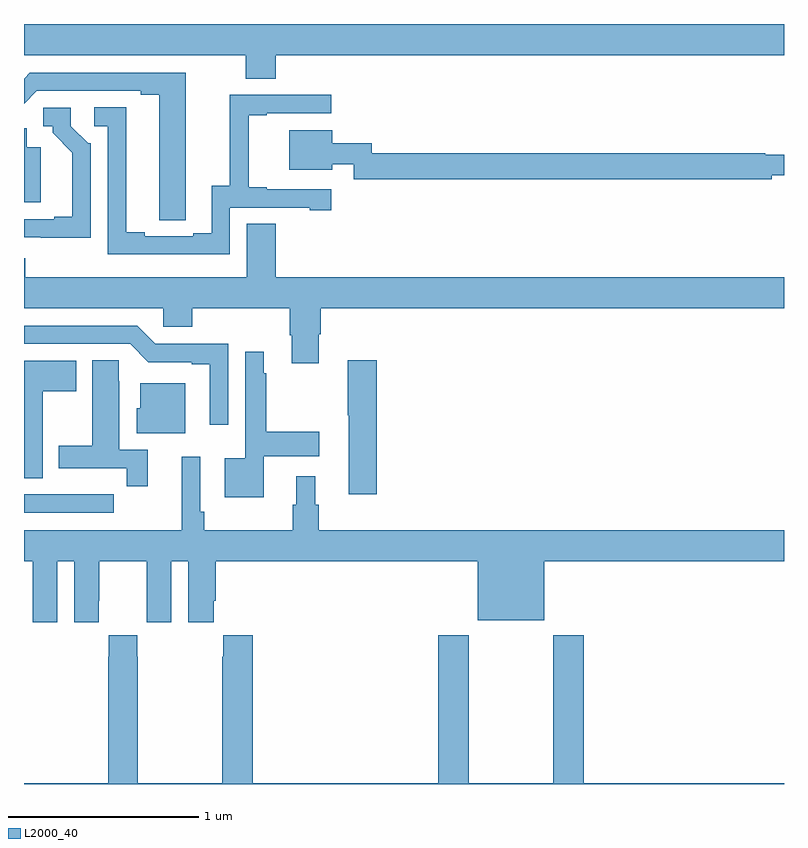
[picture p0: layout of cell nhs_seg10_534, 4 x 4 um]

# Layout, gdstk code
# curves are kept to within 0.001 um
import gdstk
lib = gdstk.Library(unit=1e-6, precision=1e-09)
def P(c, l, *ps):  # polygons
    for p in ps: c.add(gdstk.Polygon(p, *l))
L2000_40 = (2000, 40)

nhs_seg10_534 = lib.new_cell('nhs_seg10_534')
P(nhs_seg10_534, L2000_40, [(138.326,1280.336),(141,1280.336),(141,1280.5),(137,1280.5),(137,1280.336),(138.166,1280.336),(138.166,1280.212),(138.326,1280.212)],
  [(137.85,1279.576),(137.851,1279.576),(137.851,1280.244),(137.031,1280.244),(137,1280.213),(137,1280.081),(137.067,1280.148),(137.615,1280.148),(137.615,1280.128),(137.711,1280.128),(137.711,1279.468),(137.85,1279.468)],
  [(138.084,1279.533),(138.503,1279.533),(138.503,1279.521),(138.616,1279.521),(138.616,1279.629),(138.277,1279.629),(138.277,1279.642),(138.182,1279.642),(138.182,1280.019),(138.277,1280.019),(138.277,1280.031),(138.616,1280.031),(138.616,1280.127),(138.082,1280.127),(138.082,1279.649),(137.987,1279.649),(137.987,1279.398),(137.891,1279.398),(137.891,1279.383),(137.635,1279.383),(137.635,1279.403),(137.539,1279.403),(137.539,1280.063),(137.37,1280.063),(137.37,1279.962),(137.442,1279.962),(137.442,1279.287),(138.084,1279.287)],
  [(137.352,1279.872),(137.337,1279.872),(137.247,1279.962),(137.247,1280.058),(137.1,1280.058),(137.1,1279.962),(137.15,1279.962),(137.15,1279.927),(137.255,1279.822),(137.255,1279.486),(137.159,1279.486),(137.159,1279.473),(137,1279.473),(137,1279.377),(137.352,1279.376)],
  [(137.089,1279.852),(137.014,1279.852),(137.014,1279.951),(137,1279.951),(137,1279.562),(137.089,1279.562)],
  [(140.936,1279.703),(141,1279.703),(141,1279.813),(140.902,1279.813),(140.902,1279.82),(138.831,1279.82),(138.831,1279.873),(138.622,1279.873),(138.622,1279.942),(138.395,1279.942),(138.395,1279.733),(138.622,1279.733),(138.622,1279.763),(138.735,1279.763),(138.735,1279.684),(140.936,1279.684)],
  [(138.55,1278.867),(138.563,1278.867),(138.563,1279.004),(141,1279.004),(141,1279.168),(138.326,1279.168),(138.326,1279.448),(138.173,1279.448),(138.173,1279.168),(137.006,1279.168),(137.006,1279.266),(137,1279.266),(137,1279.004),(137.733,1279.004),(137.733,1278.906),(137.885,1278.906),(137.885,1279.004),(138.398,1279.004),(138.398,1278.862),(138.41,1278.862),(138.41,1278.714),(138.55,1278.714)],
  [(138.075,1278.816),(137.691,1278.816),(137.595,1278.912),(137,1278.912),(137,1278.816),(137.559,1278.816),(137.655,1278.72),(137.882,1278.72),(137.882,1278.708),(137.978,1278.708),(137.978,1278.39),(138.075,1278.39)],
  [(138.262,1278.224),(138.553,1278.224),(138.553,1278.354),(138.274,1278.354),(138.274,1278.662),(138.262,1278.662),(138.262,1278.775),(138.165,1278.775),(138.165,1278.214),(138.056,1278.214),(138.056,1278.008),(138.262,1278.008)],
  [(137.651,1278.258),(137.5,1278.258),(137.5,1278.62),(137.499,1278.62),(137.499,1278.731),(137.36,1278.731),(137.36,1278.279),(137.183,1278.279),(137.183,1278.162),(137.542,1278.162),(137.542,1278.066),(137.651,1278.066)],
  [(138.857,1278.73),(138.703,1278.73),(138.703,1278.442),(138.71,1278.442),(138.71,1278.024),(138.857,1278.024)],
  [(137.098,1278.568),(137.275,1278.568),(137.275,1278.727),(137,1278.727),(137,1278.109),(137.098,1278.109)],
  [(137.848,1278.61),(137.612,1278.61),(137.612,1278.477),(137.594,1278.477),(137.594,1278.347),(137.848,1278.347)],
  [(137,1277.672),(137.045,1277.672),(137.045,1277.464),(137.046,1277.464),(137.046,1277.352),(137.176,1277.352),(137.176,1277.672),(137.264,1277.672),(137.264,1277.352),(137.394,1277.352),(137.394,1277.464),(137.395,1277.464),(137.395,1277.672),(137.645,1277.672),(137.645,1277.464),(137.646,1277.464),(137.646,1277.352),(137.776,1277.352),(137.776,1277.672),(137.864,1277.672),(137.864,1277.352),(137.998,1277.352),(137.998,1277.464),(138.008,1277.464),(138.008,1277.672),(139.388,1277.672),(139.388,1277.363),(139.738,1277.363),(139.738,1277.672),(141,1277.672),(141,1277.836),(138.551,1277.836),(138.551,1277.97),(138.532,1277.97),(138.532,1278.121),(138.434,1278.121),(138.434,1277.97),(138.415,1277.97),(138.415,1277.836),(137.948,1277.836),(137.948,1277.932),(137.928,1277.932),(137.928,1278.223),(137.831,1278.223),(137.831,1277.836),(137,1277.836)],
  [(137.473,1278.024),(137.36,1278.024),(137.36,1278.025),(137.194,1278.025),(137.194,1278.024),(137,1278.024),(137,1277.928),(137.473,1277.928)],
  [(141,1276.504),(139.946,1276.504),(139.946,1277.284),(139.786,1277.284),(139.786,1276.504),(139.341,1276.504),(139.341,1277.284),(139.181,1277.284),(139.181,1276.504),(138.203,1276.504),(138.203,1277.284),(138.049,1277.284),(138.049,1277.171),(138.043,1277.171),(138.043,1276.504),(137.598,1276.504),(137.598,1277.171),(137.595,1277.171),(137.595,1277.284),(137.445,1277.284),(137.445,1277.171),(137.443,1277.171),(137.443,1276.504),(137,1276.504),(137,1276.5),(141,1276.5)])

lib.write_gds('nhs_seg10_534.gds')
